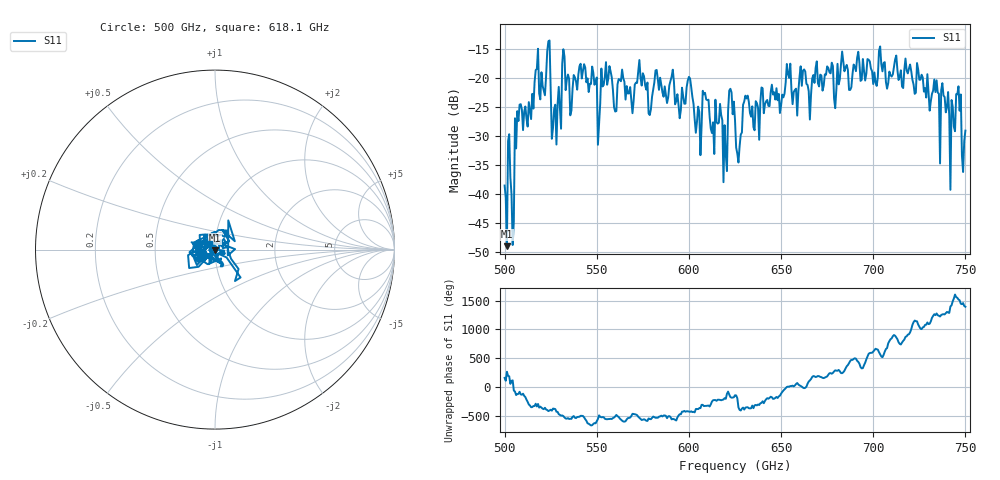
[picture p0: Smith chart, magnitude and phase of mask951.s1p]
!Created with skrf (http://scikit-rf.org).
# GHz S MA R 50.0
!freq magS11 angS11
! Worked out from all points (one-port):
!   401 points, 500 GHz to 750 GHz, reference 50 ohm
!   lowest |S11| = -49.0 dB at 501.2 GHz (marker M1), VSWR 1.01, Z = 50 - j0.351 ohm
!   |S11| at or under -10 dB: start of sweep to end of sweep
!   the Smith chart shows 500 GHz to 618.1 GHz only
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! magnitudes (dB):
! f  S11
! 500 GHz  -38.6
! 501.2 GHz  -49.0
! 504.4 GHz  -48.8
! 506.9 GHz  -25.7
! 517.5 GHz  -18.4
! 523.8 GHz  -13.7
! 526.9 GHz  -25.3
! 531.2 GHz  -17.5
! 548.8 GHz  -21.2
! 550.6 GHz  -31.5
! 553.8 GHz  -21.2
! 562.5 GHz  -20.3
! 590.6 GHz  -19.8
! 593.8 GHz  -22.8
! 600 GHz  -19.8
! 605 GHz  -25.0
! 608.8 GHz  -22.6
! 619.4 GHz  -28.2
! 623.1 GHz  -22.5
! 625 GHz  -27.3
! 626.9 GHz  -34.6
! 630.6 GHz  -23.1
! 656.2 GHz  -24.5
! 687.5 GHz  -22.1
! 718.8 GHz  -19.2
! 743.1 GHz  -25.0
! 746.2 GHz  -21.4
! 750 GHz  -29.1
